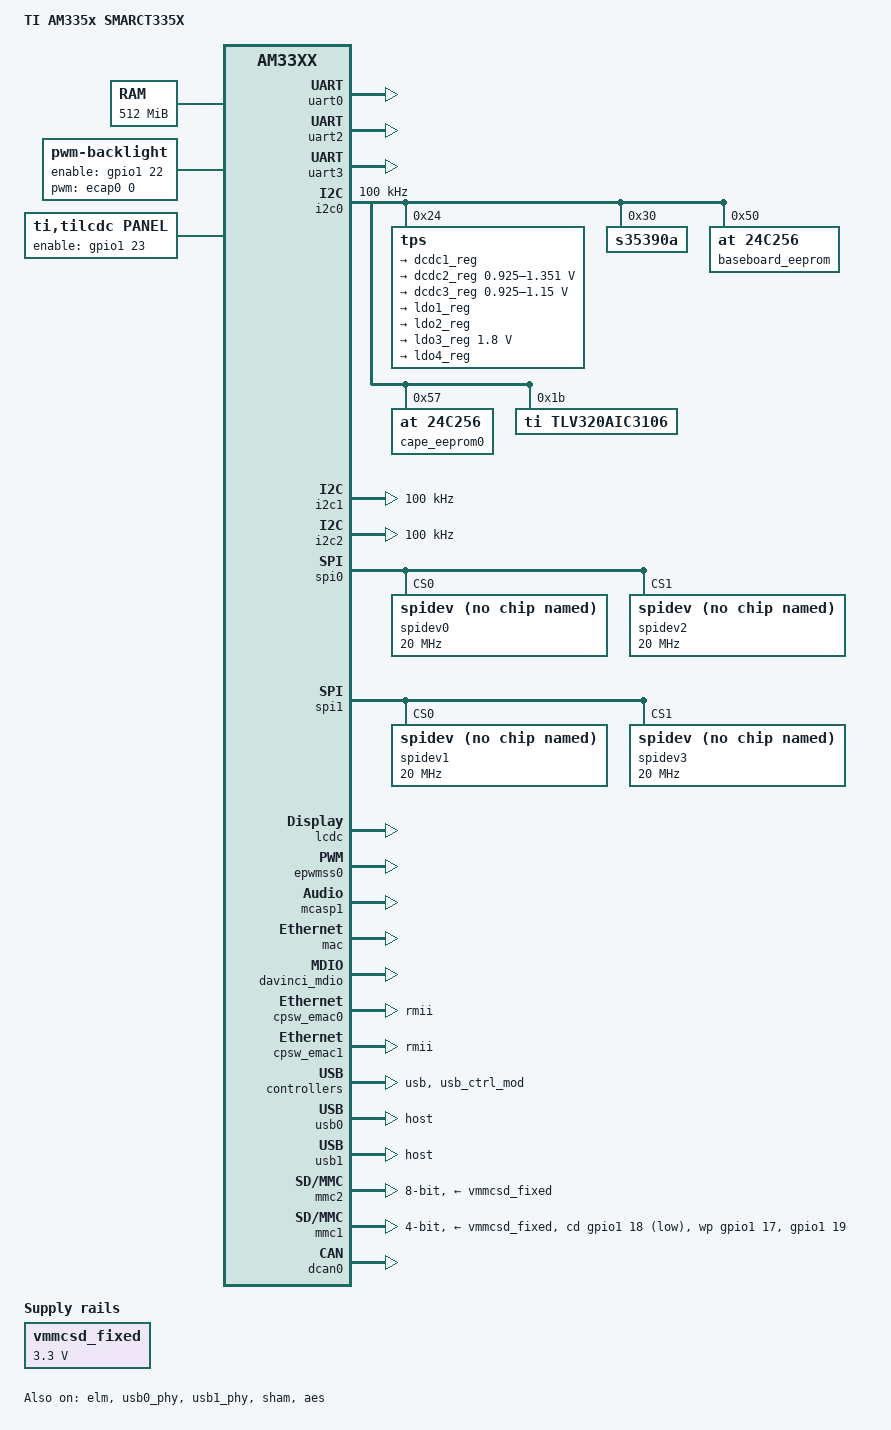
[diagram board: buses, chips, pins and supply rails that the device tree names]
/*
 * Copyright (C) 2012 Texas Instruments Incorporated - http://www.ti.com/
 *
 * This program is free software; you can redistribute it and/or modify
 * it under the terms of the GNU General Public License version 2 as
 * published by the Free Software Foundation.
 */

        /* state the resources this carrier uses for audio function*/
                /* the pin header uses for Audio*/
                /*
                "S.39",         mcasp1: mcasp0_fsr.mcasp1_fsx           mode3
                "S.40",         mcasp1: mcasp0_axr1.mcasp1_axr0         mode3
                "S.41",         mcasp1: mcasp0_ahclkx.mcasp1_axr1       mode3
                "S.42",         mcasp1: mcasp0_aclkr.mcasp1_aclkx       mode3
                */
                /* the pin header uses for SPI1*/
                /*
                "P.54",         spi1: mcasp0_ahclkr.spi1_cs0n           mode3
                "P.55",         spi1: xdma_event_intro0.spi1_cs1n       mode4
                "P.56",         spi1: mcasp0_aclkx.spi1_sclk            mode3
                "P.57",         spi1: mcasp0_fsx.spi1_d0                mode3
                "P.58",         spi1: mcasp0_axr0.spi1_d1               mode3
                */
                /* the pin header uses for LCD*/
                /*
                "S.114",        lcd: lcd_data0.lcd_data0                mode0
                "S.115",        lcd: lcd_data1.lcd_data1                mode0
                "S.116",        lcd: lcd_data2.lcd_data2                mode0
                "S.117",        lcd: lcd_data3.lcd_data3                mode0
                "S.118",        lcd: lcd_data4.lcd_data4                mode0
                "S.104",        lcd: lcd_data5.lcd_data5                mode0
                "S.105",        lcd: lcd_data6.lcd_data6                mode0
                "S.106",        lcd: lcd_data7.lcd_data7                mode0
                "S.107",        lcd: lcd_data8.lcd_data8                mode0
                "S.108",        lcd: lcd_data9.lcd_data9                mode0
                "S.109",        lcd: lcd_data10.lcd_data10              mode0
                "S.96",         lcd: lcd_data11.lcd_data11              mode0
                "S.97",         lcd: lcd_data12.lcd_data12              mode0
                "S.98",         lcd: lcd_data13.lcd_data13              mode0
                "S.99",         lcd: lcd_data14.lcd_data14              mode0
                "S.100",        lcd: lcd_data15.lcd_data15              mode0
                "S.113",        lcd: lcd_data16.gpmc_ad15               mode0
                "S.95",         lcd: lcd_data17.gpmc_ad14               mode0
                "S.112",        lcd: lcd_data18.gpmc_ad13               mode0
                "S.103",        lcd: lcd_data19.gpmc_ad12               mode0
                "S.94",         lcd: lcd_data20.gpmc_ad11               mode0
                "S.111",        lcd: lcd_data21.gpmc_ad10               mode0
                "S.102",        lcd: lcd_data22.gpmc_ad9                mode0
                "S.93",         lcd: lcd_data23.gpmc_ad8                mode0
                "S.121",        lcd: lcd_vsync.lcd_vsync                mode0
                "S.122",        lcd: lcd_hsync.lcd_hsync                mode0
                "S.123",        lcd: lcd_pclk.lcd_pclk                  mode0
                "S.120",        lcd_de: lcd_ac_bias_en.lcd_ac_bias_en   mode0
                "S.133",        lcd_vdd_en: gpmc_a7.gpio1_23            mode7
                "S.127",        lcd_bklt_en: gpmc_a6.gpio1_22           mode7
        `       */
                /* the pin header uses for DCAN0*/
                /*
                "P.143",        dcan0_tx: gmii1_txd3.dcan0_tx           mode1
                "P.144",        dcan0_rx: gmii1_txd2.dcan0_rx   mode1
                */
                /* the hardware ip uses */
                /*
                "mcasp1",
                "i2c0",
                "i2c1",
                "i2c2",
                "uart0",
                "uart2",
                "uart3",
                "touch",
                "mmc0/SD",
                "emmc",
                "ecap0/backlight",
                "emac0",
                "emac1",
                "gpio1_22",
                "gpio1_23",
                "gpio1_19",
                "lcd",
                "dcan0",
                "spi0",
                "spi1";
                */
/dts-v1/;

#include "am33xx.dtsi"
#include <dt-bindings/interrupt-controller/irq.h>

/ {
	model = "TI AM335x SMARCT335X";
	compatible = "ti,am335x-smarct335x", "ti,am33xx";

        chosen {
                stdout-path = &uart0;
                tick-timer = &timer2;
        };

	cpus {
		cpu@0 {
			cpu0-supply = <&dcdc2_reg>;
		};
	};

	memory@80000000 {
		device_type = "memory";
		reg = <0x80000000 0x20000000>; /* 512 MB */
	};

        vmmcsd_fixed: fixedregulator@0 {
                compatible = "regulator-fixed";
                regulator-name = "vmmcsd_fixed";
                regulator-min-microvolt = <3300000>;
                regulator-max-microvolt = <3300000>;
        };

        backlight {
                compatible = "pwm-backlight";
                enable-gpios = <&gpio1 22 0>; /* Backlight Enable Pin*/
                pwms = <&ecap0 0 50000 0>;
                brightness-levels = <0 51 53 56 62 75 101 152 255>;
                default-brightness-level = <8>;
        };

        panel {
                compatible = "ti,tilcdc,panel";
                status = "okay";
        	pinctrl-names = "default";
        	pinctrl-0 = <&lcd_pins_default>;
		enable-gpios = <&gpio1 23 0>; /* Enable LCD_VDD_EN pin */
                panel-info {
                        ac-bias           = <255>;
                        ac-bias-intrpt    = <0>;
                        dma-burst-sz      = <16>;
                        bpp               = <32>;
                        fdd               = <0x80>;
                        sync-edge         = <0>;
                        sync-ctrl         = <1>;
                        raster-order      = <0>;
                        fifo-th           = <0>;
                       /*invert-pxl-clk;*/ /*pixel clock polarity*/
                };

                display-timings {
                       	800x480p60 {
                                clock-frequency = <33200000>;
                                hactive = <800>;
                                vactive = <480>;
                                hfront-porch = <42>;
                                hback-porch = <84>;
                                hsync-len = <128>;
                                vback-porch = <33>;
				vfront-porch = <10>;
                                vsync-len = <2>;
                                hsync-active = <0>;
                                vsync-active = <0>;
                        };
                };
        };

        sound {
                compatible = "ti,da830-evm-audio";
                ti,model = "TLV320AIC3X SOUND CARD";
                ti,audio-codec = <&tlv320aic3106>;
                ti,mcasp-controller = <&mcasp1>;
                ti,codec-clock-rate = <24576000>;
                ti,audio-routing =
			"Headphone Jack",       "HPLOUT",
			"Headphone Jack",       "HPROUT",
			"LINE1L",               "Line In",
			"LINE1R",               "Line In";
        };
};


&am33xx_pinmux {
	pinctrl-names = "default";
	pinctrl-0 = <&clkout2_pin &gpio_pins_default>;

	i2c0_pins: pinmux_i2c0_pins {
		pinctrl-single,pins = <
			0x188 (PIN_INPUT_PULLUP | MUX_MODE0)	/* i2c0_sda.i2c0_sda */
			0x18c (PIN_INPUT_PULLUP | MUX_MODE0)	/* i2c0_scl.i2c0_scl */
		>;
	};

        i2c1_pins: pinmux_i2c1_pins {
                pinctrl-single,pins = <
                        0x180 (PIN_INPUT_PULLUP | MUX_MODE3)   	/* uart1_rxd.i2c1_sda */
                       	0x184 (PIN_INPUT_PULLUP | MUX_MODE3)   	/* uart1_txd.i2c1_scl */
                >;
        };

        i2c2_pins: pinmux_i2c2_pins {
                pinctrl-single,pins = <
                       	0x178 (PIN_INPUT_PULLUP | MUX_MODE3)   	/* uart1_ctsn.i2c2_sda */
                       	0x17c (PIN_INPUT_PULLUP | MUX_MODE3)   	/* uart1_rtsn.i2c2_scl */
                >;
        };

	uart0_pins: pinmux_uart0_pins {
		pinctrl-single,pins = <
                       	0x168 (PIN_INPUT_PULLUP | MUX_MODE6)   	/* uart0_ctsn.uart0_ctsn */
                        0x16c (PIN_OUTPUT | MUX_MODE6)         	/* uart0_rtsn.uart0_rtsn */
			0x170 (PIN_INPUT_PULLUP | MUX_MODE0)	/* uart0_rxd.uart0_rxd */
			0x174 (PIN_OUTPUT_PULLDOWN | MUX_MODE0)	/* uart0_txd.uart0_txd */
		>;
	};

        uart0_pins_sleep: pinmux_uart0_pins_sleep {
                pinctrl-single,pins = <
                        0x168 (PIN_INPUT_PULLDOWN | MUX_MODE7)
                        0x16c (PIN_INPUT_PULLDOWN | MUX_MODE7)
                        0x170 (PIN_INPUT_PULLDOWN | MUX_MODE7)
                        0x174 (PIN_INPUT_PULLDOWN | MUX_MODE7)
                >;
        };


        uart2_pins: pinmux_uart2_pins {
                pinctrl-single,pins = <
                        0x12c (PIN_INPUT_PULLUP | MUX_MODE1)   	/* mii1_txclk.uart2_rxd */
                        0x130 (PIN_OUTPUT_PULLDOWN | MUX_MODE1)	/* mii1_rxclk.uart2_txd */
                >;
        };

        uart3_pins: pinmux_uart3_pins {
                pinctrl-single,pins = <
                        0x134 (PIN_INPUT_PULLUP | MUX_MODE1)   	/* mii1_rxd3.uart3_rxd */
                        0x138 (PIN_OUTPUT_PULLDOWN | MUX_MODE1)	/* mii1_rxd2.uart3_txd */
                >;
        };

	clkout2_pin: pinmux_clkout2_pin {
		pinctrl-single,pins = <
			0x1b4 (PIN_OUTPUT_PULLDOWN | MUX_MODE3)	/* xdma_event_intr1.clkout2 */
		>;
	};

      	/*GPIO0-GPIO11, GPIO0-5 is input and GPIO6-11 is output by default.*/
      	gpio_pins_default: pinmux_gpio_pin {
      		pinctrl-single,pins = <
              		0x118 (PIN_INPUT_PULLDOWN | MUX_MODE7) 	/* gmii1_rx_dv.gpio3_4 */
                       	0x09c (PIN_INPUT_PULLDOWN | MUX_MODE7) 	/* gpmc_ben0_cle.gpio2_5 */
                       	0x064 (PIN_INPUT_PULLDOWN | MUX_MODE7) 	/* gpmc_a9.gpio1_25 */
                       	0x060 (PIN_INPUT_PULLDOWN | MUX_MODE7) 	/* gpmc_a8.gpio1_24 */
                       	0x098 (PIN_INPUT_PULLDOWN | MUX_MODE7) 	/* gpmc_wen.gpio2_4 */
                       	0x094 (PIN_INPUT_PULLDOWN | MUX_MODE7) 	/* gpmc_oenren.gpio2_3 */
                       	0x078 (PIN_OUTPUT_PULLDOWN | MUX_MODE7)	/* gpmc_ben1.gpio1_28 */
                       	0x07c (PIN_OUTPUT_PULLDOWN | MUX_MODE7)	/* gpmc_csn0.gpio1_29 */
                       	0x088 (PIN_OUTPUT_PULLDOWN | MUX_MODE7)	/* gpmc_csn3.gpio2_0 */
                       	0x08c (PIN_OUTPUT_PULLDOWN | MUX_MODE7)	/* gpmc_clk.gpio2_1 */
                       	0x1e4 (PIN_OUTPUT_PULLDOWN | MUX_MODE7)	/* emu0.gpio3_7 */
                       	0x1e8 (PIN_OUTPUT_PULLDOWN | MUX_MODE7)	/* emu1.gpio3_8 */
           	>;
     	};

        ecap0_pins: backlight_pins {
                pinctrl-single,pins = <
                        0x164 0x0       /* eCAP0_in_PWM0_out.eCAP0_in_PWM0_out MODE0 */
                >;
        };

	cpsw_default: cpsw_default {
		pinctrl-single,pins = <
			/* Slave 1 */
                        0x10c (PIN_INPUT_PULLUP | MUX_MODE1)   	/* mii1_crs.rmii1_crs_dv */
			0x110 (PIN_INPUT_PULLUP | MUX_MODE1)	/* mii1_rxerr.rmii1_rxerr */
			0x114 (PIN_OUTPUT_PULLDOWN | MUX_MODE1)	/* mii1_txen.rmii1_txen */
			0x124 (PIN_OUTPUT_PULLDOWN | MUX_MODE1)	/* mii1_txd1.rmii1_txd1 */
			0x128 (PIN_OUTPUT_PULLDOWN | MUX_MODE1)	/* mii1_txd0.rmii1_txd0 */
			0x13c (PIN_INPUT_PULLUP | MUX_MODE1)	/* mii1_rxd1.rmii1_rxd1 */
			0x140 (PIN_INPUT_PULLUP | MUX_MODE1)	/* mii1_rxd0.rmii1_rxd0 */
                        0x144 (PIN_INPUT_PULLUP | MUX_MODE0)   	/* rmii1_ref_clk.rmii1_ref_clk */

                        /* Slave 2 */
                        0x070 (PIN_INPUT_PULLUP | MUX_MODE3)   	/* gpmc_wait0.rmii2_crs_dv */
                        0x074 (PIN_INPUT_PULLUP | MUX_MODE3)   	/* gpmc_wpn.rmii2_rxerr */
                        0x040 (PIN_OUTPUT_PULLDOWN | MUX_MODE3)	/* gpmc_a0.rmii2_txen */
                        0x050 (PIN_OUTPUT_PULLDOWN | MUX_MODE3)	/* gpmc_a4.rmii2_txd1 */
                        0x054 (PIN_OUTPUT_PULLDOWN | MUX_MODE3)	/* gpmc_a5.rmii2_txd0 */
                        0x068 (PIN_INPUT_PULLUP | MUX_MODE3)   	/* gpmc_a10.rmii2_rxd1 */
                        0x06c (PIN_INPUT_PULLUP | MUX_MODE3)   	/* gpmc_a11.rmii2_rxd0 */
                        0x108 (PIN_INPUT_PULLUP | MUX_MODE1)   	/* mii1_col.rmii2_ref_clk */
		>;
	};

	cpsw_sleep: cpsw_sleep {
		pinctrl-single,pins = <
			/* Slave 1 reset value */
			0x10c (PIN_INPUT_PULLDOWN | MUX_MODE7)
			0x110 (PIN_INPUT_PULLDOWN | MUX_MODE7)
			0x114 (PIN_INPUT_PULLDOWN | MUX_MODE7)
			0x124 (PIN_INPUT_PULLDOWN | MUX_MODE7)
			0x128 (PIN_INPUT_PULLDOWN | MUX_MODE7)
			0x13c (PIN_INPUT_PULLDOWN | MUX_MODE7)
			0x140 (PIN_INPUT_PULLDOWN | MUX_MODE7)
			0x144 (PIN_INPUT_PULLDOWN | MUX_MODE7)

                        /* Slave 2 reset value */
                        0x070 (PIN_INPUT_PULLDOWN | MUX_MODE7)
                        0x074 (PIN_INPUT_PULLDOWN | MUX_MODE7)
                        0x040 (PIN_INPUT_PULLDOWN | MUX_MODE7)
                        0x050 (PIN_INPUT_PULLDOWN | MUX_MODE7)
                        0x054 (PIN_INPUT_PULLDOWN | MUX_MODE7)
                        0x068 (PIN_INPUT_PULLDOWN | MUX_MODE7)
                        0x06c (PIN_INPUT_PULLDOWN | MUX_MODE7)
                        0x108 (PIN_INPUT_PULLDOWN | MUX_MODE7)
		>;
	};

	davinci_mdio_default: davinci_mdio_default {
		pinctrl-single,pins = <
			/* MDIO */
			0x148 (PIN_INPUT_PULLUP | SLEWCTRL_FAST | MUX_MODE0)	/* mdio_data.mdio_data */
			0x14c (PIN_OUTPUT_PULLUP | MUX_MODE0)			/* mdio_clk.mdio_clk */
		>;
	};

	davinci_mdio_sleep: davinci_mdio_sleep {
		pinctrl-single,pins = <
			/* MDIO reset value */
			0x148 (PIN_INPUT_PULLDOWN | MUX_MODE7)
			0x14c (PIN_INPUT_PULLDOWN | MUX_MODE7)
		>;
	};

	mmc1_pins: pinmux_mmc1_pins {
		pinctrl-single,pins = <
                	0x0f0 (PIN_INPUT_PULLUP | MUX_MODE0)   	/* mmc0_dat3.mmc0_dat3 */
                	0x0f4 (PIN_INPUT_PULLUP | MUX_MODE0)   	/* mmc0_dat2.mmc0_dat2 */
                	0x0f8 (PIN_INPUT_PULLUP | MUX_MODE0)   	/* mmc0_dat1.mmc0_dat1 */
                 	0x0fc (PIN_INPUT_PULLUP | MUX_MODE0)   	/* mmc0_dat0.mmc0_dat0 */
                      	0x100 (PIN_INPUT_PULLUP | MUX_MODE0)   	/* mmc0_clk.mmc0_clk */
                  	0x104 (PIN_INPUT_PULLUP | MUX_MODE0)	/* mmc0_cmd.mmc0_cmd */
			0x048 (PIN_INPUT | MUX_MODE7) 		/* GPIO1_18, MMC0_CD */
                        0x044 (PIN_INPUT | MUX_MODE7) 		/* GPIO1_17, MMC0_WP */
		>;
	};

      	mmc1_pins_sleep: pinmux_mmc1_pins_sleep {
        	pinctrl-single,pins = <
                	0x0f0 (PIN_INPUT_PULLDOWN | MUX_MODE7)
                       	0x0f4 (PIN_INPUT_PULLDOWN | MUX_MODE7)
                       	0x0f8 (PIN_INPUT_PULLDOWN | MUX_MODE7)
                       	0x0fc (PIN_INPUT_PULLDOWN | MUX_MODE7)
                       	0x100 (PIN_INPUT_PULLDOWN | MUX_MODE7)
                       	0x104 (PIN_INPUT_PULLDOWN | MUX_MODE7)
                       	0x048 (PIN_INPUT_PULLDOWN | MUX_MODE7)
                       	0x044 (PIN_INPUT_PULLDOWN | MUX_MODE7)
             	>;
     	};

	emmc_pins: pinmux_emmc_pins {
		pinctrl-single,pins = <
			0x080 (PIN_INPUT_PULLUP | MUX_MODE2) 	/* gpmc_csn1.mmc1_clk */
			0x084 (PIN_INPUT_PULLUP | MUX_MODE2) 	/* gpmc_csn2.mmc1_cmd */
			0x000 (PIN_INPUT_PULLUP | MUX_MODE1) 	/* gpmc_ad0.mmc1_dat0 */
			0x004 (PIN_INPUT_PULLUP | MUX_MODE1) 	/* gpmc_ad1.mmc1_dat1 */
			0x008 (PIN_INPUT_PULLUP | MUX_MODE1) 	/* gpmc_ad2.mmc1_dat2 */
			0x00c (PIN_INPUT_PULLUP | MUX_MODE1) 	/* gpmc_ad3.mmc1_dat3 */
			0x010 (PIN_INPUT_PULLUP | MUX_MODE1) 	/* gpmc_ad4.mmc1_dat4 */
			0x014 (PIN_INPUT_PULLUP | MUX_MODE1) 	/* gpmc_ad5.mmc1_dat5 */
			0x018 (PIN_INPUT_PULLUP | MUX_MODE1) 	/* gpmc_ad6.mmc1_dat6 */
			0x01c (PIN_INPUT_PULLUP | MUX_MODE1) 	/* gpmc_ad7.mmc1_dat7 */
		>;
	};

        lcd_pins_default: lcd_pins_default {
                pinctrl-single,pins = <
                        0x03c (PIN_OUTPUT | MUX_MODE1) 		/* gpmc_ad15.lcd_data16, OUTPUT | MODE1 */
                        0x038 (PIN_OUTPUT | MUX_MODE1)    	/* gpmc_ad14.lcd_data17, OUTPUT | MODE1 */
                        0x034 (PIN_OUTPUT | MUX_MODE1)    	/* gpmc_ad13.lcd_data18, OUTPUT | MODE1 */
                        0x030 (PIN_OUTPUT | MUX_MODE1)    	/* gpmc_ad12.lcd_data19, OUTPUT | MODE1 */
                        0x02c (PIN_OUTPUT | MUX_MODE1)    	/* gpmc_ad11.lcd_data20, OUTPUT | MODE1 */
                        0x028 (PIN_OUTPUT | MUX_MODE1)    	/* gpmc_ad10.lcd_data21, OUTPUT | MODE1 */
                        0x024 (PIN_OUTPUT | MUX_MODE1)    	/* gpmc_ad9.lcd_data22, OUTPUT | MODE1 */
                        0x020 (PIN_OUTPUT | MUX_MODE1)   	/* gpmc_ad8.lcd_data23, OUTPUT | MODE1 */
                        0x0a0 (PIN_OUTPUT | MUX_MODE0)   	/* lcd_data0.lcd_data0, OUTPUT | MODE0 */
                        0x0a4 (PIN_OUTPUT | MUX_MODE0)   	/* lcd_data1.lcd_data1, OUTPUT | MODE0 */
                        0x0a8 (PIN_OUTPUT | MUX_MODE0)    	/* lcd_data2.lcd_data2, OUTPUT | MODE0 */
                        0x0ac (PIN_OUTPUT | MUX_MODE0)   	/* lcd_data3.lcd_data3, OUTPUT | MODE0 */
                        0x0b0 (PIN_OUTPUT | MUX_MODE0)    	/* lcd_data4.lcd_data4, OUTPUT | MODE0 */
                        0x0b4 (PIN_OUTPUT | MUX_MODE0)    	/* lcd_data5.lcd_data5, OUTPUT | MODE0 */
                        0x0b8 (PIN_OUTPUT | MUX_MODE0)    	/* lcd_data6.lcd_data6, OUTPUT | MODE0 */
                        0x0bc (PIN_OUTPUT | MUX_MODE0)    	/* lcd_data7.lcd_data7, OUTPUT | MODE0 */
                        0x0c0 (PIN_OUTPUT | MUX_MODE0)   	/* lcd_data8.lcd_data8, OUTPUT | MODE0 */
                        0x0c4 (PIN_OUTPUT | MUX_MODE0)   	/* lcd_data9.lcd_data9, OUTPUT | MODE0 */
                        0x0c8 (PIN_OUTPUT | MUX_MODE0)    	/* lcd_data10.lcd_data10, OUTPUT | MODE0 */
                        0x0cc (PIN_OUTPUT | MUX_MODE0)    	/* lcd_data11.lcd_data11, OUTPUT | MODE0 */
                       	0x0d0 (PIN_OUTPUT | MUX_MODE0)    	/* lcd_data12.lcd_data12, OUTPUT | MODE0 */
                        0x0d4 (PIN_OUTPUT | MUX_MODE0)    	/* lcd_data13.lcd_data13, OUTPUT | MODE0 */
                        0x0d8 (PIN_OUTPUT | MUX_MODE0)    	/* lcd_data14.lcd_data14, OUTPUT | MODE0 */
                        0x0dc (PIN_OUTPUT | MUX_MODE0)    	/* lcd_data15.lcd_data15, OUTPUT | MODE0 */
                        0x0e0 (PIN_OUTPUT | MUX_MODE0)    	/* lcd_vsync.lcd_vsync, OUTPUT | MODE0 */
                        0x0e4 (PIN_OUTPUT | MUX_MODE0)    	/* lcd_hsync.lcd_hsync, OUTPUT | MODE0 */
                        0x0e8 (PIN_OUTPUT | MUX_MODE0)    	/* lcd_pclk.lcd_pclk, OUTPUT | MODE0 */
                        0x0ec (PIN_OUTPUT | MUX_MODE0)    	/* lcd_ac_bias_en.lcd_ac_bias_en, OUTPUT | MODE0 */
                       	0x05c (PIN_OUTPUT | MUX_MODE7)   	/* gpmc_a7.gpio1_23, MODE7 - LCD_VDD_EN */
                >;
        };

        mcasp1_pins: mcasp1_pins {
                pinctrl-single,pins = <
                        0x1a0 (PIN_INPUT_PULLDOWN | MUX_MODE3) 	/* mcasp0_aclkr.mcasp1_aclkx */
                        0x1a4 (PIN_INPUT_PULLDOWN | MUX_MODE3) 	/* mcasp0_fsr.mcasp1_fsx */
                        0x1a8 (PIN_OUTPUT_PULLDOWN | MUX_MODE3) 	/* mcasp0_axr1.mcasp1_axr0 */
                        0x1ac (PIN_INPUT_PULLDOWN | MUX_MODE3) 	/* mcasp0_ahclkx.mcasp1_axr1 */
                >;
        };

       	mcasp1_sleep_pins: mcasp1_sleep_pins {
              	pinctrl-single,pins = <
                     	0x1a0 (PIN_INPUT_PULLDOWN | MUX_MODE7)
                       	0x1a4 (PIN_INPUT_PULLDOWN | MUX_MODE7)
                     	0x1a8 (PIN_INPUT_PULLDOWN | MUX_MODE7)
                       	0x1ac (PIN_INPUT_PULLDOWN | MUX_MODE7)
            	>;
     	};

        spi0_pins: pinmux_spi0_pins {
                pinctrl-single,pins = <
                        0x150 (PIN_INPUT_PULLUP | MUX_MODE0)    /* spi0_sclk.spi0_sclk */
                        0x154 (PIN_INPUT_PULLUP | MUX_MODE0)    /* spi0_d0.spi0_d0 */
                        0x158 (PIN_OUTPUT_PULLUP | MUX_MODE0)   /* spi0_d1.spi0_d1 */
                        0x15c (PIN_OUTPUT_PULLUP | MUX_MODE0)   /* spi0_cs0.spi0_cs0 */
                      	0x160 (PIN_OUTPUT_PULLUP | MUX_MODE0)   /* spi0_cs1.spi0_cs1 */
                >;
        };

      	spi1_pins: pinmux_spi1_pins {
               	pinctrl-single,pins = <
                       	0x190 (PIN_INPUT_PULLUP | MUX_MODE3)    /* mcasp0_aclkx.spi1_sclk */
                      	0x194 (PIN_INPUT_PULLUP | MUX_MODE3)    /* mcasp0_fsx.spi1_d0 */
                       	0x198 (PIN_OUTPUT_PULLUP | MUX_MODE3)   /* mcasp0_axr0.spi1_d1 */
                       	0x19c (PIN_OUTPUT_PULLUP | MUX_MODE3)   /* mcasp0_ahclkr.spi1_cs0 */
                      	0x1b0 (PIN_OUTPUT_PULLUP | MUX_MODE4)   /* xdma_event_intr0.spi1_cs1 */
              	>;
      	};
      	dcan0_default: dcan0_default_pins {
             	pinctrl-single,pins = <
                      	0x11c (PIN_OUTPUT_PULLDOWN | MUX_MODE1) /* gmii1_txd3.dcan0_tx */
                      	0x120 (PIN_INPUT_PULLUP | MUX_MODE1) 	/* gmii1_txd2.dcan0_rx */
              	>;
     	};
};

&uart0 {
	pinctrl-names = "default";
	pinctrl-0 = <&uart0_pins>;
        pinctrl-1 = <&uart0_pins_sleep>;

	status = "okay";
};

&uart2 {
        pinctrl-names = "default";
        pinctrl-0 = <&uart2_pins>;

        status = "okay";
};

&uart3 {
        pinctrl-names = "default";
        pinctrl-0 = <&uart3_pins>;

        status = "okay";
};

&i2c0 {
	pinctrl-names = "default";
	pinctrl-0 = <&i2c0_pins>;

	status = "okay";
	clock-frequency = <100000>;

	tps: tps@24 {
		reg = <0x24>;
	};

        s35390a: s35390a@30 {
                compatible = "s35390a";
                reg = <0x30>;
        };

        baseboard_eeprom: baseboard_eeprom@50 {
                compatible = "at,24c256";
                reg = <0x50>;
        };

        cape_eeprom0: cape_eeprom@57 {
                compatible = "at,24c256";
                reg = <0x57>;
        };

	tlv320aic3106: tlv320aic3106@1b {
		compatible = "ti,tlv320aic3106";
		reg = <0x1b>;
		status = "okay";
	};

};

&i2c1 {
   	pinctrl-names = "default";
     	pinctrl-0 = <&i2c1_pins>;
  	status = "okay";
     	clock-frequency = <100000>;
       	};

&i2c2 {
      	pinctrl-names = "default";
       	pinctrl-0 = <&i2c2_pins>;
     	status = "okay";
       	clock-frequency = <100000>;
       	};

&spi0 {
     	pinctrl-names = "default";
       	pinctrl-0 = <&spi0_pins>;
       	status = "okay";

               	spidev0: spi@0 {
                	compatible = "spidev";
                    	reg = <0>;
                     	spi-max-frequency = <20000000>;
                       	spi-cpha;
              	};

           	spidev2: spi@1 {
                     	compatible = "spidev";
                   	reg = <1>;
                     	spi-max-frequency = <20000000>;
           	};
     	};

&spi1 {
      	pinctrl-names = "default";
     	pinctrl-0 = <&spi1_pins>;
             	status = "okay";

               	spidev1: spi@0 {
                   	compatible = "spidev";
                       	reg = <0>;
                    	spi-max-frequency = <20000000>;
                     	spi-cpha;
              	};

             	spidev3: spi@1 {
                     	compatible = "spidev";
                      	reg = <1>;
                     	spi-max-frequency = <20000000>;
              	};
    	};

&lcdc {
        status = "okay";

        /* If you want to get 24 bit RGB and 16 BGR mode instead of
         * current 16 bit RGB and 24 BGR modes, set the propety
         * below to "crossed".
         */  
      	blue-and-red-wiring = "straight";
};

&elm {
        status = "okay";
};

&epwmss0 {
        status = "okay";

        ecap0: ecap@48300100 {
                status = "okay";
                pinctrl-names = "default";
                pinctrl-0 = <&ecap0_pins>;
        };
};

/include/ "tps65217.dtsi"

&mcasp1 {
                pinctrl-names = "default";
                pinctrl-0 = <&mcasp1_pins>;
                pinctrl-1 = <&mcasp1_sleep_pins>;

                status = "okay";

                op-mode = <0>;          /* MCASP_IIS_MODE */
                tdm-slots = <2>;
                /* 4 serializers */
                serial-dir = <  /* 0: INACTIVE, 1: TX, 2: RX */
                        1 2 0 0
                >;
                tx-num-evt = <1>;
                rx-num-evt = <1>;
};

&tps {
        /*
         * Configure pmic to enter OFF-state instead of SLEEP-state ("RTC-only
         * mode") at poweroff.  Most BeagleBone versions do not support RTC-only
         * mode and risk hardware damage if this mode is entered.
         *
         * For details, see linux-omap mailing list May 2015 thread
         *      [PATCH] ARM: dts: am335x-bone* enable pmic-shutdown-controller
         * In particular, messages:
         *      http://www.spinics.net/lists/linux-omap/msg118585.html
         *      http://www.spinics.net/lists/linux-omap/msg118615.html
         *
         * You can override this later with
         *      &tps {  /delete-property/ ti,pmic-shutdown-controller;  }
         * if you want to use RTC-only mode and made sure you are not affected
         * by the hardware problems. (Tip: double-check by performing a current
         * measurement after shutdown: it should be less than 1 mA.)
         */
        ti,pmic-shutdown-controller;

        regulators {
                dcdc1_reg: regulator@0 {
                        regulator-name = "vdds_dpr";
                        regulator-always-on;
                };

                dcdc2_reg: regulator@1 {
                        /* VDD_MPU voltage limits 0.95V - 1.325V with +/-4% tolerance */
                        regulator-name = "vdd_mpu";
                        regulator-min-microvolt = <925000>;
                        regulator-max-microvolt = <1351500>;
                        regulator-boot-on;
                        regulator-always-on;
                };

                dcdc3_reg: regulator@2 {
                        /* VDD_CORE voltage limits 0.95V - 1.1V with +/-4% tolerance */
                        regulator-name = "vdd_core";
                        regulator-min-microvolt = <925000>;
                        regulator-max-microvolt = <1150000>;
                        regulator-boot-on;
                        regulator-always-on;
                };

                ldo1_reg: regulator@3 {
                        regulator-name = "vio,vrtc,vdds";
                        regulator-always-on;
                };

                ldo2_reg: regulator@4 {
                        regulator-name = "vdd_3v3aux";
                        regulator-always-on;
                };

                ldo3_reg: regulator@5 {
                        regulator-name = "vdd_1v8";
                        regulator-always-on;
                };

                ldo4_reg: regulator@6 {
                        regulator-name = "vdd_3v3a";
                        regulator-always-on;
                };
        };
};

&mac {
        pinctrl-names = "default", "sleep";
        pinctrl-0 = <&cpsw_default>;
        pinctrl-1 = <&cpsw_sleep>;
        dual_emac = <1>;
	status = "okay";
};

&davinci_mdio {
        pinctrl-names = "default", "sleep";
        pinctrl-0 = <&davinci_mdio_default>;
        pinctrl-1 = <&davinci_mdio_sleep>;
	status = "okay";
};

&cpsw_emac0 {
	phy_id = <&davinci_mdio>, <0>;
	phy-mode = "rmii";
};

&cpsw_emac1 {
	phy_id = <&davinci_mdio>, <1>;
	phy-mode = "rmii";
};

&phy_sel {
        reg= <0x44e10650 0xf5>;
	rmii-clock-ext;
};

&usb {
        status = "okay";
};

&usb_ctrl_mod {
        status = "okay";
};

&usb0_phy {
        status = "okay";
};

&usb1_phy {
        status = "okay";
};

&usb0 {
        status = "okay";
        dr_mode = "host";
};

&usb1 {
        status = "okay";
        dr_mode = "host";
};

&cppi41dma  {
        status = "okay";
};

&tscadc {
        status = "disabled";
        tsc {
                ti,wires = <4>;
                ti,x-plate-resistance = <200>;
                ti,coordinate-readouts = <5>;
                ti,wire-config = <0x00 0x11 0x22 0x33>;
                ti,charge-delay = <0x400>;
        };

        adc {
                ti,adc-channels = <0 1 2 3>;
        };
};

&mmc2 {
        vmmc-supply = <&vmmcsd_fixed>;
        pinctrl-names = "default";
        pinctrl-0 = <&emmc_pins>;
        bus-width = <8>;
        status = "okay";
        ti,non-removable;
};


&mmc1 {
	vmmc-supply = <&vmmcsd_fixed>;
	status = "okay";
	bus-width = <0x4>;
	pinctrl-names = "default";
	pinctrl-0 = <&mmc1_pins>;
        gpios = <&gpio1 19 1>; /* mmc0 power enable*/
	cd-gpios = <&gpio1 18 GPIO_ACTIVE_HIGH>;
	wp-gpios = <&gpio1 17 GPIO_ACTIVE_HIGH>;
	cd-inverted;
};

&dcan0 {
        pinctrl-names = "default";
        pinctrl-0 = <&dcan0_default>;
        status = "okay";
};

&sham {
        status = "okay";
};

&aes {
        status = "okay";
};

&rtc {
       	ext-clk-src;
};

&ldo3_reg {
        regulator-min-microvolt = <1800000>;
        regulator-max-microvolt = <1800000>;
        regulator-always-on;
};
